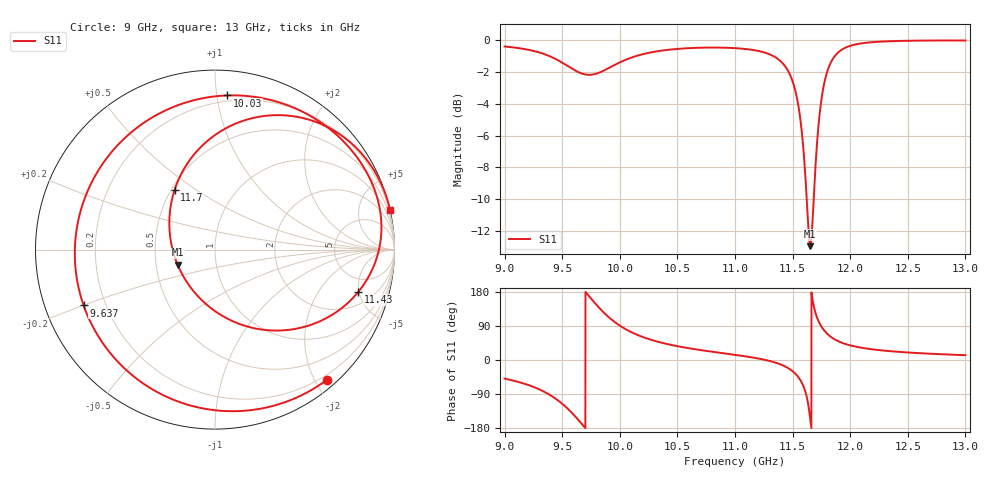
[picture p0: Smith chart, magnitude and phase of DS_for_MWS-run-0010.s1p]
! TOUCHSTONE file generated by CST DESIGN STUDIO
! Date and time: Tue Jan 28 13:35:15 2025
! Project name: C:\Work\MatlabApps\UnitCellOptimizationMatlabNew\CST\unitcell.cst
! Tree item: Tasks\Sweep1\SPara1\S-Parameters
! Header version: 2024
! Port assignment regex: !\s*Touchstone port\s*([0-9]+)\s*=\s*(CST MWS port|CST DES external port|CST DES block port)\s*(.+)\s* \(\"(.*)\"\)(\s*mode\s*([0-9]+))?.*
! Touchstone port assignment:
! Touchstone port 1 = CST DES external port 1 ("")
# GHz S MA R 50
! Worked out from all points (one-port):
!   4001 points, 9 GHz to 13 GHz, reference 50 ohm
!   lowest |S11| = -13.0 dB at 11.65 GHz (marker M1), VSWR 1.58, Z = 32.4 - j5.72 ohm
!   |S11| at or under -10 dB: 11.62 GHz to 11.68 GHz (60.48 MHz wide, 0.519 % of centre)
!   S11 on the Smith chart (normalised r, x): 9 GHz: 0.13, -2.18; 9.637 GHz: 0.12, -0.20; 10.03 GHz: 0.16, +1.07; 11.43 GHz: 3.20, -4.91; 11.7 GHz: 0.52, +0.41; 13 GHz: 0.03, +8.93
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9  0.9569 -49.2
9.264  0.9241 -72.7
9.398  0.8895 -93.1
9.5  0.8509 -115.5
9.567  0.8221 -134.1
9.637  0.7954 -157.0
9.731  0.779 169.1
9.836  0.7956 132.8
9.914  0.822 110.4
10  0.8525 90.8
10.027  0.8613 85.6
10.234  0.911 57.0
10.5  0.9402 36.5
11  0.9455 13.6
11.276  0.911 -0.7
11.431  0.8327 -16.4
11.5  0.743 -29.6
11.589  0.4761 -65.5
11.621  0.3238 -94.8
11.654  0.2245 -158.1
11.699  0.4028 123.9
11.744  0.6264 91.5
11.793  0.7806 71.6
11.882  0.9063 51.7
12  0.9614 38.6
12.189  0.987 28.2
12.5  0.9975 19.8
13  0.9993 12.8
